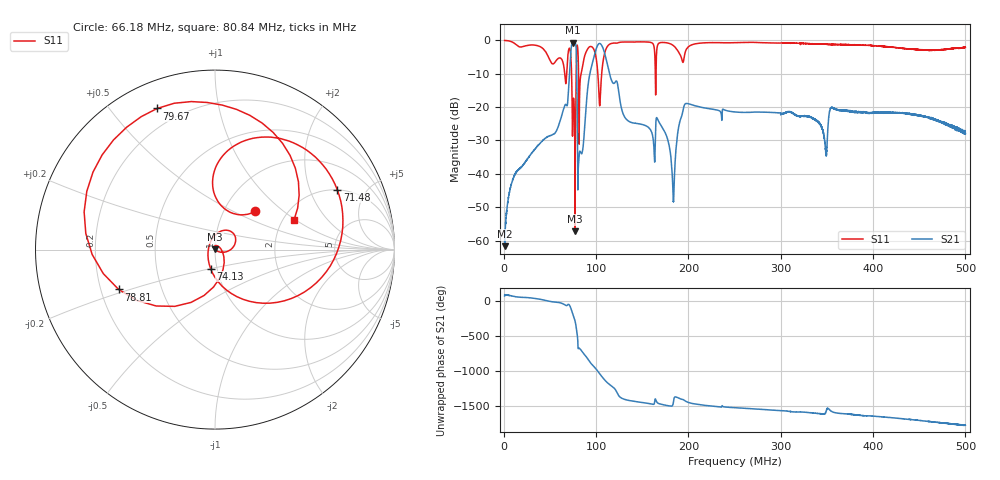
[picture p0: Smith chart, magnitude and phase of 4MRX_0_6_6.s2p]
! NanoVNA-App
! Date: 2026-08-19 14:45:20
! Start: 1MHz Stop: 500MHz Points: 6401
! S-Parameter data: F S11 S21 S12 S22
# Hz S RI R 50
!  Frequency  S11_Real  S11_Imag  S21_Real  S21_Imag  S12_Real  S12_Imag  S22_Real  S22_Imag
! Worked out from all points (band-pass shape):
!   6401 points, 1 MHz to 500 MHz, reference 50 ohm
!   highest |S21| = -0.67 dB at 74.76 MHz (marker M1); lowest = -61.7 dB at 1.078 MHz (marker M2)
!   |S21| within 3 dB of the highest: 72.64 MHz to 78.68 MHz (6.038 MHz wide, 7.98 % of centre); 98.96 MHz to 109.2 MHz (10.19 MHz wide, 9.8 % of centre)
!   lowest |S11| = -57.3 dB at 77.25 MHz (marker M3), VSWR 1.00, Z = 50.1 + j0.0987 ohm
!   |S11| at or under -10 dB: 73.51 MHz to 78.49 MHz (4.978 MHz wide, 6.55 % of centre); 81.09 MHz to 83.86 MHz (2.766 MHz wide, 3.35 % of centre); 102 MHz to 106.1 MHz (4.145 MHz wide, 3.98 % of centre)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
!   S12 and S22 are empty: the file has one direction only
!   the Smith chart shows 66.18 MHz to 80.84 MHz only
!   S11 on the Smith chart (normalised r, x): 66.18 MHz: 1.39, +0.66; 71.48 MHz: 1.99, +3.14; 74.13 MHz: 0.93, -0.20; 78.81 MHz: 0.27, -0.18; 79.67 MHz: 0.12, +0.66; 80.84 MHz: 2.29, +0.97
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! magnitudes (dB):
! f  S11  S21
! 1 MHz  0.0  -60.2
! 1.078 MHz  0.0  -61.7
! 11.99 MHz  -0.9  -40.3
! 66.18 MHz  -10.2  -19.5
! 71.48 MHz  -2.4  -8.4
! 74.13 MHz  -19.3  -0.8
! 74.76 MHz  -24.1  -0.7
! 77.25 MHz  -57.3  -0.8
! 78.81 MHz  -4.7  -5.0
! 79.67 MHz  -1.4  -19.8
! 80.84 MHz  -6.6  -37.9
! 84.19 MHz  -9.6  -34.0
! 95.11 MHz  -1.9  -7.9
! 103.5 MHz  -17.7  -0.9
! 132.3 MHz  -0.5  -23.5
! 167.4 MHz  -1.0  -24.0
! 183.5 MHz  -1.5  -47.1
! 197.2 MHz  -3.1  -18.9
! 250.5 MHz  -0.7  -21.4
! 333.7 MHz  -1.0  -23.3
! 416.9 MHz  -2.0  -21.7
! 500 MHz  -2.1  -28.0
